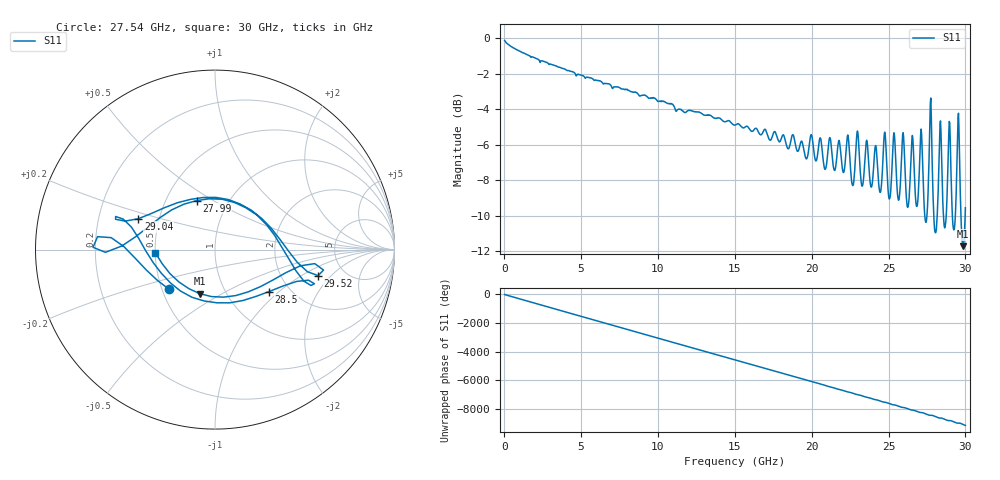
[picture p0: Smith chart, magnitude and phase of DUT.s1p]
# Hz S RI R 50
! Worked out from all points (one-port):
!   1000 points, 30 MHz to 30 GHz, reference 50 ohm
!   lowest |S11| = -11.7 dB at 29.85 GHz (marker M1), VSWR 1.70, Z = 37.7 - j19.8 ohm
!   |S11| at or under -10 dB: 27.95 GHz to 28.17 GHz (220.1 MHz wide, 0.785 % of centre); 29.15 GHz to 29.34 GHz (191.4 MHz wide, 0.654 % of centre); 29.71 GHz to 29.98 GHz (271.7 MHz wide, 0.91 % of centre)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
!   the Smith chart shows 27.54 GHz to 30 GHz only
!   S11 on the Smith chart (normalised r, x): 27.54 GHz: 0.54, -0.27; 27.99 GHz: 0.71, +0.42; 28.5 GHz: 1.57, -0.86; 29.04 GHz: 0.38, +0.17; 29.52 GHz: 3.21, -1.43; 30 GHz: 0.50, -0.02
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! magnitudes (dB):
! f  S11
! 30 MHz  -0.1
! 3.78 GHz  -1.7
! 7.53 GHz  -2.8
! 11.28 GHz  -4.0
! 15.03 GHz  -4.9
! 18.78 GHz  -5.4
! 22.53 GHz  -7.3
! 24.45 GHz  -8.7
! 24.75 GHz  -5.3
! 25.05 GHz  -9.1
! 25.35 GHz  -5.3
! 25.65 GHz  -9.1
! 25.95 GHz  -5.3
! 26.28 GHz  -9.4
! 26.55 GHz  -5.5
! 26.82 GHz  -9.5
! 27.12 GHz  -5.1
! 27.54 GHz  -9.4
! 27.75 GHz  -3.4
! 27.99 GHz  -10.7
! 28.35 GHz  -4.9
! 28.5 GHz  -8.4
! 28.68 GHz  -10.6
! 29.04 GHz  -6.7
! 29.25 GHz  -10.8
! 29.52 GHz  -4.5
! 29.85 GHz  -11.7
! 30 GHz  -9.5
